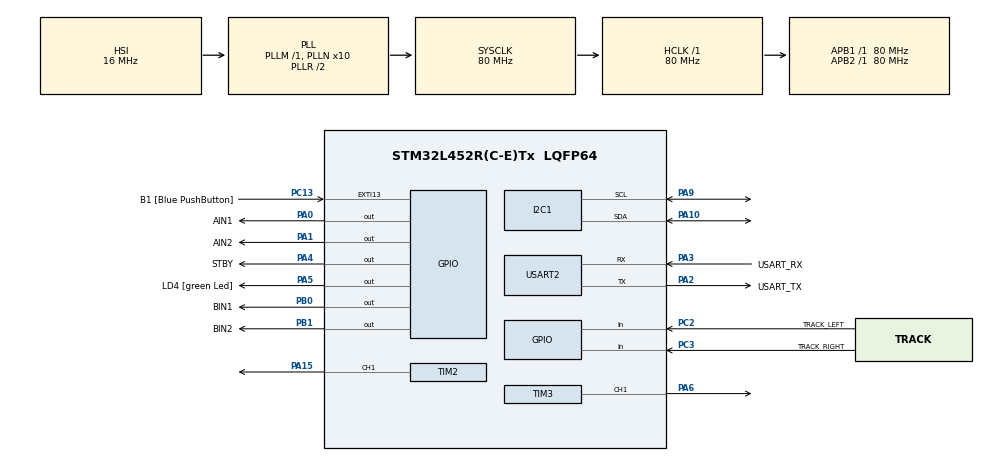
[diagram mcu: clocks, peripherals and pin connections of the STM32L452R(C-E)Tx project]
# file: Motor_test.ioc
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I2C1.Timing=0x10D19CE4
Mcu.Family=STM32L4
Mcu.Name=STM32L452R(C-E)Tx
Mcu.Package=LQFP64
NVIC.PriorityGroup=NVIC_PRIORITYGROUP_4
PA0.GPIO_Label=AIN1
PA0.Signal=GPIO_Output
PA1.GPIO_Label=AIN2
PA1.Signal=GPIO_Output
PA10.Mode=I2C
PA10.Signal=I2C1_SDA
PA13\ (JTMS/SWDIO).GPIO_Label=TMS
PA13\ (JTMS/SWDIO).Mode=Serial_Wire
PA13\ (JTMS/SWDIO).Signal=SYS_JTMS-SWDIO
PA14\ (JTCK/SWCLK).GPIO_Label=TCK
PA14\ (JTCK/SWCLK).Mode=Serial_Wire
PA14\ (JTCK/SWCLK).Signal=SYS_JTCK-SWCLK
PA15\ (JTDI).Signal=S_TIM2_CH1
PA2.GPIO_Label=USART_TX
PA2.GPIO_Mode=GPIO_MODE_AF_PP
PA2.GPIO_PuPd=GPIO_NOPULL
PA2.GPIO_Speed=GPIO_SPEED_FREQ_VERY_HIGH
PA2.Mode=Asynchronous
PA2.Signal=USART2_TX
PA3.GPIO_Label=USART_RX
PA3.GPIO_Mode=GPIO_MODE_AF_PP
PA3.GPIO_PuPd=GPIO_NOPULL
PA3.GPIO_Speed=GPIO_SPEED_FREQ_VERY_HIGH
PA3.Mode=Asynchronous
PA3.Signal=USART2_RX
PA4.GPIO_Label=STBY
PA4.Signal=GPIO_Output
PA5.GPIO_Label=LD4 [green Led]
PA5.GPIO_ModeDefaultOutputPP=GPIO_MODE_OUTPUT_PP
PA5.GPIO_PuPd=GPIO_NOPULL
PA5.GPIO_Speed=GPIO_SPEED_FREQ_LOW
PA5.Signal=GPIO_Output
PA6.Signal=S_TIM3_CH1
PA9.Mode=I2C
PA9.Signal=I2C1_SCL
PB0.GPIO_Label=BIN1
PB0.Signal=GPIO_Output
PB1.GPIO_Label=BIN2
PB1.Signal=GPIO_Output
PC13.GPIO_Label=B1 [Blue PushButton]
PC13.GPIO_ModeDefaultEXTI=GPIO_MODE_IT_FALLING
PC13.GPIO_PuPd=GPIO_NOPULL
PC13.Signal=GPXTI13
PC14-OSC32_IN\ (PC14).Mode=LSE-External-Oscillator
PC14-OSC32_IN\ (PC14).Signal=RCC_OSC32_IN
PC15-OSC32_OUT\ (PC15).Mode=LSE-External-Oscillator
PC15-OSC32_OUT\ (PC15).Signal=RCC_OSC32_OUT
PC2.GPIO_Label=TRACK_LEFT
PC2.GPIO_PuPd=GPIO_PULLUP
PC2.Signal=GPIO_Input
PC3.GPIO_Label=TRACK_RIGHT
PC3.GPIO_PuPd=GPIO_PULLUP
PC3.Signal=GPIO_Input
PH0-OSC_IN\ (PH0).Mode=HSE-External-Oscillator
PH0-OSC_IN\ (PH0).Signal=RCC_OSC_IN
PH1-OSC_OUT\ (PH1).Mode=HSE-External-Oscillator
PH1-OSC_OUT\ (PH1).Signal=RCC_OSC_OUT
ProjectManager.HeapSize=0x200
ProjectManager.StackSize=0x400
ProjectManager.TargetToolchain=MDK-ARM V5.32
RCC.ADCFreq_Value=64000000
RCC.AHBFreq_Value=80000000
RCC.APB1Freq_Value=80000000
RCC.APB1TimFreq_Value=80000000
RCC.APB2Freq_Value=80000000
RCC.APB2TimFreq_Value=80000000
RCC.CortexFreq_Value=80000000
RCC.HCLKFreq_Value=80000000
RCC.HSE_VALUE=8000000
RCC.HSI48_VALUE=48000000
RCC.HSI_VALUE=16000000
RCC.MSI_VALUE=4000000
RCC.PLLN=10
RCC.PLLSourceVirtual=RCC_PLLSOURCE_HSI
RCC.PREFETCH_ENABLE=1
RCC.SYSCLKFreq_VALUE=80000000
RCC.SYSCLKSource=RCC_SYSCLKSOURCE_PLLCLK
RCC.USBFreq_Value=64000000
RCC.VCOOutputFreq_Value=160000000
SH.S_TIM2_CH1.0=TIM2_CH1,PWM Generation1 CH1
SH.S_TIM3_CH1.0=TIM3_CH1,PWM Generation1 CH1
TIM2.Channel-PWM\ Generation1\ CH1=TIM_CHANNEL_1
TIM2.Period=999
TIM2.Prescaler=79
TIM3.Channel-PWM\ Generation1\ CH1=TIM_CHANNEL_1
TIM3.Period=999
TIM3.Prescaler=79
USART2.VirtualMode-Asynchronous=VM_ASYNC
VP_TIM2_VS_ClockSourceINT.Mode=Internal
VP_TIM3_VS_ClockSourceINT.Mode=Internal
board=NUCLEO-L452RE

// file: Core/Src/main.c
/* USER CODE BEGIN Header */

/**

  ******************************************************************************

  * @file           : main.c

  * @brief          : Main program body (Synchronized Dual Motor Forward Tracking)

  ******************************************************************************

  */

/* USER CODE END Header */

#include "main.h"

#include "i2c.h"

#include "tim.h"

#include "usart.h"

#include "gpio.h"

/* USER CODE BEGIN Includes */

#include <math.h>  // 引入數學庫以使用 atan2 計算角度

/* USER CODE END Includes */

/* USER CODE BEGIN PD */

#define MPU6050_ADDR         (0x68 << 1) // MPU6050 I2C 七位元地址，需左移一位

#define SMPLRT_DIV_REG       0x19

#define PWR_MGMT_1_REG       0x6B

#define WHO_AM_I_REG         0x75

#define ACCEL_XOUT_H_REG     0x3B

#define GYRO_XOUT_H_REG      0x43

/* USER CODE END PD */

/* USER CODE BEGIN PV */

// MPU6050 原始數據與轉換變數

int16_t raw_ax, raw_az, raw_gy;

float accel_angle, gyro_rate;

float Current_Angle = 0.0; // 融合後的當前車身角度

float Gyro_Y = 0.0;        // Y 軸陀螺儀角速度

// =================================================================

// ??? PID 參數調試戰場 (平衡反應速度與煞車阻尼)

// =================================================================

float Kp = 22.0;   // 比例常數：拉高此值提升肌肉力量，讓小車反應變快

float Ki = 0.0;    // 積分常數：固定保持 0 即可

float Kd = 1.2;    // 微分常數：提供阻尼作為煞車，抑制前後劇烈搖晃

float Target_Angle = 0.0; // 目標直直角度 (理想是 0 度)

float Error = 0.0;

float Integrated_Error = 0.0;

int16_t Motor_PWM = 0;

// =================================================================

// ?? 循跡與強行前進參數區

// =================================================================

int16_t Forward_Speed = 200; // ??【前進核心】設定基礎前進速度

                             // 配合下方死區補償，200 就能跑得很順。太快可調小，太慢可調大。

float K_Track = 200.0;  // 轉彎修正量。從 150 提高到 200，讓小車過彎甩頭更快、更暴力

int16_t Turn_Value = 0; // 轉彎疊加值

// ??? ??? ??? 【已修正】將左輪力量補償係數改回 1.0，讓左右雙輪輸出完全均等 ??? ??? ???

float Left_Motor_Scale = 1.00;

/* USER CODE END PV */

void SystemClock_Config(void);

/* USER CODE BEGIN 0 */

// MPU6050 初始化

uint8_t MPU6050_Init(void) {

    uint8_t check, data;

    // 讀取 WHO_AM_I 暫存器，預設應回傳 0x68

    HAL_I2C_Mem_Read(&hi2c1, MPU6050_ADDR, WHO_AM_I_REG, 1, &check, 1, 1000);

    if (check == 0x68) {

        data = 0; // 喚醒感測器 (將電源管理暫存器清零)

        HAL_I2C_Mem_Write(&hi2c1, MPU6050_ADDR, PWR_MGMT_1_REG, 1, &data, 1, 1000);

        data = 0x07; // 設定取樣率為 1KHz

        HAL_I2C_Mem_Write(&hi2c1, MPU6050_ADDR, SMPLRT_DIV_REG, 1, &data, 1, 1000);

        return 0; // 初始化成功

    }

    return 1; // 初始化失敗

}

// 連續讀取感測器資料

void MPU6050_Read_Raw(int16_t *Accel_X, int16_t *Accel_Z, int16_t *Gyro_Y) {

    uint8_t Rec_Data[14];

    HAL_I2C_Mem_Read(&hi2c1, MPU6050_ADDR, ACCEL_XOUT_H_REG, 1, Rec_Data, 14, 1000);

    *Accel_X = (int16_t)(Rec_Data[0] << 8 | Rec_Data[1]);

    *Accel_Z = (int16_t)(Rec_Data[4] << 8 | Rec_Data[5]);

    *Gyro_Y  = (int16_t)(Rec_Data[10] << 8 | Rec_Data[11]);

}

// PWM 限幅防呆 (解開限制至 850，給予前進平衡足夠的瞬間扭力)

int16_t PWM_Limit(int16_t pwm) {

    if (pwm > 850)  return 850;

    if (pwm < -850) return -850;

    return pwm;

}

// 直立平衡 PID 運算

int16_t Balance_PID(float Angle, float Gyro) {

    Error = Angle - Target_Angle;

    Integrated_Error += Error;

    // 限制積分上限，防積分飽和

    if (Integrated_Error > 2000)  Integrated_Error = 2000;

    if (Integrated_Error < -2000) Integrated_Error = -2000;

    // 微分項直接採用陀螺儀量到的角速度 Gyro

    float pwm_out = (Kp * Error) + (Ki * Integrated_Error) + (Kd * Gyro);

    return (int16_t)pwm_out;

}

/* USER CODE END 0 */

int main(void)

{

  /* MCU Configuration--------------------------------------------------------*/

  /* Reset of all peripherals, Initializes the Flash interface and the Systick. */

  HAL_Init();

  /* Configure the system clock */

  SystemClock_Config();

  /* Initialize all configured peripherals */

  MX_GPIO_Init();

  MX_TIM2_Init();

  MX_USART2_UART_Init();

  MX_TIM3_Init();

  MX_I2C1_Init();

  /* USER CODE BEGIN 2 */

  // 1. 啟動 TIM2 Channel 1 的 PWM 訊號 (控制馬達 A - 實體右輪)

  HAL_TIM_PWM_Start(&htim2, TIM_CHANNEL_1);

  // 2. 啟動 TIM3 Channel 1 的 PWM 訊號 (控制馬達 B - 實體左輪)

  HAL_TIM_PWM_Start(&htim3, TIM_CHANNEL_1);

  // 3. 將 STBY 腳位拉高，解除驅動板待機模式

  HAL_GPIO_WritePin(STBY_GPIO_Port, STBY_Pin, GPIO_PIN_SET);

  // 4. 初始化 MPU6050 陀螺儀

  MPU6050_Init();

  /* USER CODE END 2 */

  /* Infinite loop */

  /* USER CODE BEGIN WHILE */

  while (1)

  {

    // 1. 讀取感測器原始數值

    MPU6050_Read_Raw(&raw_ax, &raw_az, &raw_gy);

    // 2. 資料物理轉換與互補濾波 (Complementary Filter)

    accel_angle = atan2((float)raw_ax, (float)raw_az) * 57.29578; // 算出加速度計夾角 (180/PI)

    gyro_rate = (float)raw_gy / 131.0;                            // 轉換為度/秒 (預設量程)

    // 互補濾波公式：dt 設為固定控制週期 0.005 秒 (5 毫秒)

    Current_Angle = 0.98 * (Current_Angle + gyro_rate * 0.005) + 0.02 * accel_angle;

    Gyro_Y = gyro_rate;

    // 3. 讀取紅外線循跡狀態 (通常 0 代表偵測到黑線，1 代表白底地板)

    uint8_t Left_Sensor  = HAL_GPIO_ReadPin(TRACK_LEFT_GPIO_Port, TRACK_LEFT_Pin);

    uint8_t Right_Sensor = HAL_GPIO_ReadPin(TRACK_RIGHT_GPIO_Port, TRACK_RIGHT_Pin);

    // 4. ??? 循跡轉彎邏輯（維持原本實測完全正確的原始方向）

    if (Left_Sensor == 0 && Right_Sensor == 1) {

        // 左側紅外線壓到黑線時 -> 執行「往左修正」

        Turn_Value = K_Track;

    }

    else if (Left_Sensor == 1 && Right_Sensor == 0) {

        // 右側紅外線壓到黑線時 -> 執行「往右修正」

        Turn_Value = -K_Track;

    }

    else {

        // 兩邊都在白底上 -> 維持直行

        Turn_Value = 0;

    }

    // 5. 安全斷電機制與雙輪輸出分配

    if (Current_Angle > 45.0 || Current_Angle < -45.0) {

        // 倒了就斷電，強制停止馬達

        __HAL_TIM_SET_COMPARE(&htim2, TIM_CHANNEL_1, 0);

        __HAL_TIM_SET_COMPARE(&htim3, TIM_CHANNEL_1, 0);

        Integrated_Error = 0; // 重置積分誤差

    } else {

        // 計算基礎平衡 PID 輸出值

        Motor_PWM = Balance_PID(Current_Angle, Gyro_Y);

        // 融合平衡、前進速度與轉彎修正

        int16_t Left_Motor_PWM  = Motor_PWM - Forward_Speed + Turn_Value;  // 實體右輪 (TIM2)

        int16_t Right_Motor_PWM = Motor_PWM - Forward_Speed - Turn_Value;  // 實體左輪 (TIM3)

        // ??? ??? ??? 【核心修改】Left_Motor_Scale 已設為 1.0，此處左右輸出維持完全對稱 ??? ??? ???

        Right_Motor_PWM = (int16_t)(Right_Motor_PWM * Left_Motor_Scale);

        // 獨立對左右輪進行安全限幅

        Left_Motor_PWM  = PWM_Limit(Left_Motor_PWM);

        Right_Motor_PWM = PWM_Limit(Right_Motor_PWM);

        // ??【硬體死區補償與強制換向機制】

        // ----------------- 驅動右輪馬達 (TIM2) -----------------

        if (Left_Motor_PWM >= 0) {

            int16_t final_pwm = Left_Motor_PWM + 80;

            if(final_pwm > 850) final_pwm = 850;

            HAL_GPIO_WritePin(AIN1_GPIO_Port, AIN1_Pin, GPIO_PIN_SET);

            HAL_GPIO_WritePin(AIN2_GPIO_Port, AIN2_Pin, GPIO_PIN_RESET);

            __HAL_TIM_SET_COMPARE(&htim2, TIM_CHANNEL_1, final_pwm);

        } else {

            int16_t final_pwm = -Left_Motor_PWM + 80;

            if(final_pwm > 850) final_pwm = 850;

            HAL_GPIO_WritePin(AIN1_GPIO_Port, AIN1_Pin, GPIO_PIN_RESET);

            HAL_GPIO_WritePin(AIN2_GPIO_Port, AIN2_Pin, GPIO_PIN_SET);

            __HAL_TIM_SET_COMPARE(&htim2, TIM_CHANNEL_1, final_pwm);

        }

        // ----------------- 驅動左輪馬達 (TIM3) -----------------

        if (Right_Motor_PWM >= 0) {

            int16_t final_pwm = Right_Motor_PWM + 80;

            if(final_pwm > 850) final_pwm = 850;

            HAL_GPIO_WritePin(BIN1_GPIO_Port, BIN1_Pin, GPIO_PIN_SET);

            HAL_GPIO_WritePin(BIN2_GPIO_Port, BIN2_Pin, GPIO_PIN_RESET);

            __HAL_TIM_SET_COMPARE(&htim3, TIM_CHANNEL_1, final_pwm);

        } else {

            int16_t final_pwm = -Right_Motor_PWM + 80;

            if(final_pwm > 850) final_pwm = 850;

            HAL_GPIO_WritePin(BIN1_GPIO_Port, BIN1_Pin, GPIO_PIN_RESET);

            HAL_GPIO_WritePin(BIN2_GPIO_Port, BIN2_Pin, GPIO_PIN_SET);

            __HAL_TIM_SET_COMPARE(&htim3, TIM_CHANNEL_1, final_pwm);

        }

    }

    HAL_Delay(5); // 維持大約 5ms (200Hz) 的平衡控制頻率

    /* USER CODE END WHILE */

  }

}

void SystemClock_Config(void)

{

  RCC_OscInitTypeDef RCC_OscInitStruct = {0};

  RCC_ClkInitTypeDef RCC_ClkInitStruct = {0};

  if (HAL_PWREx_ControlVoltageScaling(PWR_REGULATOR_VOLTAGE_SCALE1) != HAL_OK)

  {

    Error_Handler();

  }

  RCC_OscInitStruct.OscillatorType = RCC_OSCILLATORTYPE_HSI;

  RCC_OscInitStruct.HSIState = RCC_HSI_ON;

  RCC_OscInitStruct.HSICalibrationValue = 64;

  RCC_OscInitStruct.PLL.PLLState = RCC_PLL_ON;

  RCC_OscInitStruct.PLL.PLLSource = RCC_PLLSOURCE_HSI;

  RCC_OscInitStruct.PLL.PLLM = 1;

  RCC_OscInitStruct.PLL.PLLN = 10;

  RCC_OscInitStruct.PLL.PLLP = RCC_PLLP_DIV7;

  RCC_OscInitStruct.PLL.PLLQ = RCC_PLLQ_DIV2;

  RCC_OscInitStruct.PLL.PLLR = RCC_PLLR_DIV2;

  if (HAL_RCC_OscConfig(&RCC_OscInitStruct) != HAL_OK)

  {

    Error_Handler();

  }

  RCC_ClkInitStruct.ClockType = RCC_CLOCKTYPE_HCLK|RCC_CLOCKTYPE_SYSCLK

                              |RCC_CLOCKTYPE_PCLK1|RCC_CLOCKTYPE_PCLK2;

  RCC_ClkInitStruct.SYSCLKSource = RCC_SYSCLKSOURCE_PLLCLK;

  RCC_ClkInitStruct.AHBCLKDivider = RCC_SYSCLK_DIV1;

  RCC_ClkInitStruct.APB1CLKDivider = RCC_HCLK_DIV1;

  RCC_ClkInitStruct.APB2CLKDivider = RCC_HCLK_DIV1;

  if (HAL_RCC_ClockConfig(&RCC_ClkInitStruct, FLASH_LATENCY_4) != HAL_OK)

  {

    Error_Handler();

  }

}

void Error_Handler(void)

{

  __disable_irq();
  while (1)
  {
  }

}
